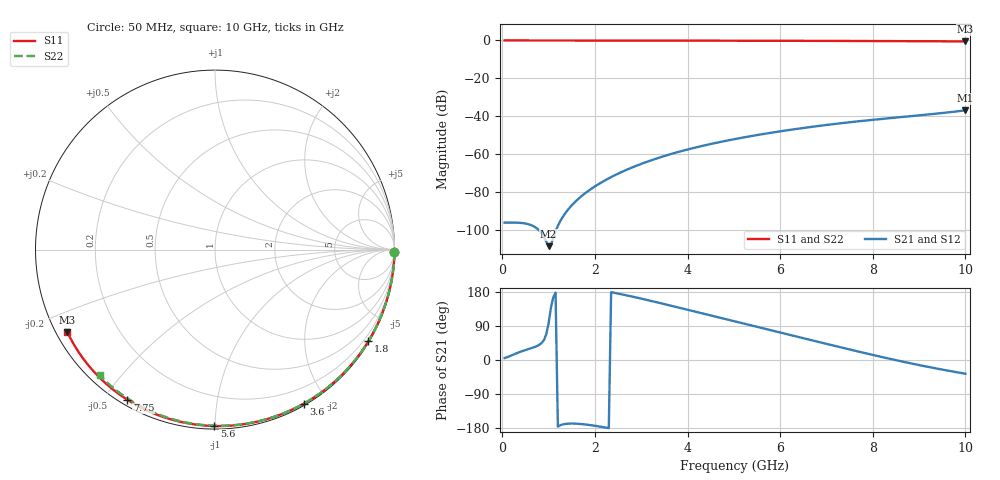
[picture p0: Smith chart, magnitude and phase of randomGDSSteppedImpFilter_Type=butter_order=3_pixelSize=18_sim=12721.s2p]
! freq	dB(S11)	phase(S11)	dB(S12)	phase(S12)
!  dB(S21)	phase(S21)	dB(S22)	phase(S22)
!S-par simulation data
#  GHz  S  DB  R 50
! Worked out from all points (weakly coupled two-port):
!   200 points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, 50 MHz to 10 GHz, reference 50 ohm
!   highest |S21| = -36.89 dB at 10 GHz (marker M1); lowest = -108.6 dB at 1 GHz (marker M2)
!   lowest |S11| = -0.5 dB at 10 GHz (marker M3), VSWR 33.70, Z = 1.58 - j13 ohm
!   |S11| at or under -10 dB: nowhere
!   |S22| runs from -0.4 to 0.0 dB; largest |S21 - S12| = 0
!   S11 on the Smith chart (normalised r, x): 50 MHz: open; 1.8 GHz: 0.03, -3.63; 3.6 GHz: 0.02, -1.73; 5.6 GHz: 0.02, -1.00; 7.75 GHz: 0.02, -0.57; 10 GHz: 0.03, -0.26
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0.05  -0.00 -0.9  -96.13 5.2  -96.13 5.2  -0.00 -0.8
0.5  -0.01 -8.7  -96.62 26.2  -96.62 26.2  -0.01 -7.7
1  -0.02 -17.3  -108.57 96.9  -108.57 96.9  -0.02 -15.2
1.75  -0.04 -30.0  -81.38 -169.6  -81.38 -169.6  -0.03 -26.5
1.8  -0.04 -30.8  -80.42 -170.2  -80.42 -170.2  -0.03 -27.2
1.85  -0.04 -31.7  -79.52 -171.0  -79.52 -171.0  -0.04 -27.9
2.05  -0.04 -35.0  -76.24 -174.5  -76.24 -174.5  -0.04 -30.9
2.2  -0.05 -37.5  -74.08 -177.6  -74.08 -177.6  -0.04 -33.1
2.55  -0.06 -43.3  -69.72 174.1  -69.72 174.1  -0.05 -38.2
2.95  -0.06 -49.8  -65.60 163.4  -65.60 163.4  -0.06 -44.0
3.4  -0.08 -57.0  -61.74 150.5  -61.74 150.5  -0.07 -50.4
3.6  -0.08 -60.1  -60.24 144.6  -60.24 144.6  -0.07 -53.2
4.3  -0.10 -71.0  -55.75 123.5  -55.75 123.5  -0.09 -62.8
5.05  -0.13 -82.2  -51.90 100.9  -51.90 100.9  -0.11 -72.9
5.6  -0.15 -90.3  -49.52 84.4  -49.52 84.4  -0.13 -80.0
6.15  -0.17 -98.1  -47.41 68.0  -47.41 68.0  -0.15 -87.1
6.7  -0.21 -105.8  -45.53 51.5  -45.53 51.5  -0.18 -93.9
7.2  -0.24 -112.8  -44.00 36.6  -44.00 36.6  -0.21 -100.0
7.75  -0.28 -120.3  -42.51 20.5  -42.51 20.5  -0.24 -106.6
8.35  -0.33 -128.4  -41.04 3.6  -41.04 3.6  -0.29 -113.7
9.2  -0.41 -139.8  -39.06 -18.3  -39.06 -18.3  -0.36 -123.5
10  -0.52 -150.7  -36.89 -36.2  -36.89 -36.2  -0.44 -132.6
